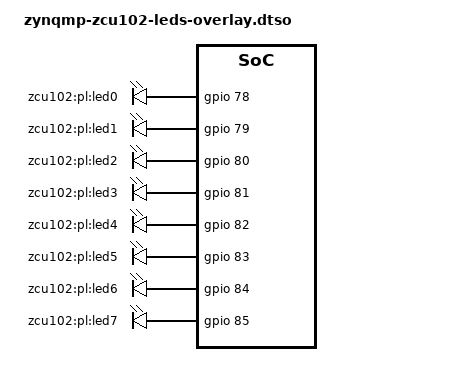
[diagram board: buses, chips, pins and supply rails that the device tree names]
// SPDX-License-Identifier: GPL-2.0
/*
 * Programmable logic user LED overlay for the ZCU102 common carrier design.
 *
 * The common/zcu102 HDL project routes the eight ZCU102 user LEDs through
 * PS EMIO GPIO rather than through a PL AXI GPIO core:
 *
 *   system_top.v:  assign gpio_bd_o = gpio_o[7:0];
 *   zcu102_system_bd.tcl:  ad_connect gpio_o sys_ps8/emio_gpio_o
 *   zcu102_system_constr.xdc:  gpio_bd_o[0..7] -> GPIO_LED_0..GPIO_LED_7
 *
 * The LEDs are therefore driven by the PS GPIO controller, but only reach
 * the package pins once this bitstream is loaded, so they belong in a
 * runtime overlay and not in the base ZCU102 device tree.
 *
 * gpio-zynq numbers ZynqMP MIO as 0-77 and EMIO as 78-173, so EMIO bit n
 * is GPIO line 78 + n and the eight LEDs are lines 78 to 85.
 *
 * This overlay needs a base device tree blob built with __symbols__
 * (DTC_FLAGS -@) because gpio-leds has to reference the GPIO controller
 * by phandle.
 *
 * hdl_project: <common/zcu102>
 *
 * Copyright (C) 2026 Analog Devices Inc.
 */

/dts-v1/;
/plugin/;

#include <dt-bindings/gpio/gpio.h>

&{/} {
	zcu102-pl-leds {
		compatible = "gpio-leds";

		led-pl-0 {
			label = "zcu102:pl:led0";
			gpios = <&gpio 78 GPIO_ACTIVE_HIGH>;
			default-state = "off";
		};

		led-pl-1 {
			label = "zcu102:pl:led1";
			gpios = <&gpio 79 GPIO_ACTIVE_HIGH>;
			default-state = "off";
		};

		led-pl-2 {
			label = "zcu102:pl:led2";
			gpios = <&gpio 80 GPIO_ACTIVE_HIGH>;
			default-state = "off";
		};

		led-pl-3 {
			label = "zcu102:pl:led3";
			gpios = <&gpio 81 GPIO_ACTIVE_HIGH>;
			default-state = "off";
		};

		led-pl-4 {
			label = "zcu102:pl:led4";
			gpios = <&gpio 82 GPIO_ACTIVE_HIGH>;
			default-state = "off";
		};

		led-pl-5 {
			label = "zcu102:pl:led5";
			gpios = <&gpio 83 GPIO_ACTIVE_HIGH>;
			default-state = "off";
		};

		led-pl-6 {
			label = "zcu102:pl:led6";
			gpios = <&gpio 84 GPIO_ACTIVE_HIGH>;
			default-state = "off";
		};

		led-pl-7 {
			label = "zcu102:pl:led7";
			gpios = <&gpio 85 GPIO_ACTIVE_HIGH>;
			default-state = "off";
		};
	};
};
